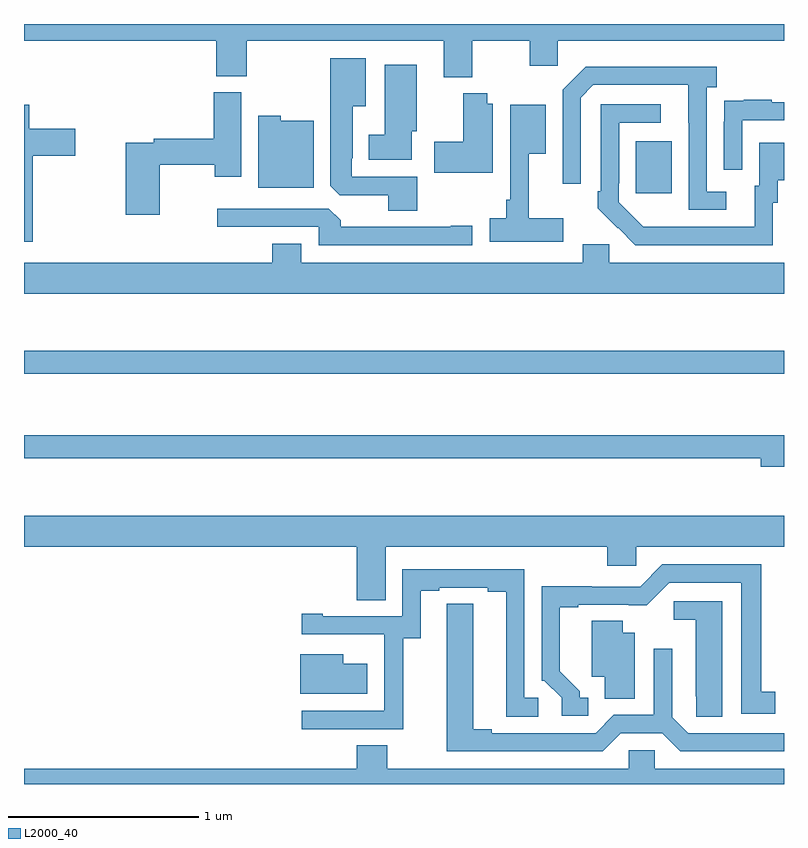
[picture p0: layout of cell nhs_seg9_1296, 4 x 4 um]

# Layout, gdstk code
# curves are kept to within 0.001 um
import gdstk
lib = gdstk.Library(unit=1e-6, precision=1e-09)
def R(c, l, rs):  # rectangles x0, y0, x1, y1
    for r in rs: c.add(gdstk.rectangle(r[:2], r[2:], *l))
def P(c, l, *ps):  # polygons
    for p in ps: c.add(gdstk.Polygon(p, *l))
L2000_40 = (2000, 40)

nhs_seg9_1296 = lib.new_cell('nhs_seg9_1296')
R(nhs_seg9_1296, L2000_40, [(183,1202.658,187,1202.779), (186.221,1203.609,186.409,1203.883)])
P(nhs_seg9_1296, L2000_40, [(187,1204.5),(183,1204.5),(183,1204.412),(184.013,1204.412),(184.013,1204.225),(184.173,1204.225),(184.173,1204.412),(185.21,1204.412),(185.21,1204.22),(185.358,1204.22),(185.358,1204.412),(185.662,1204.412),(185.662,1204.281),(185.808,1204.281),(185.808,1204.412),(187,1204.412)],
  [(185.069,1203.696),(184.725,1203.696),(184.725,1203.793),(184.729,1203.793),(184.729,1204.067),(184.798,1204.067),(184.798,1204.321),(184.613,1204.321),(184.613,1203.649),(184.662,1203.6),(184.916,1203.6),(184.916,1203.517),(185.069,1203.517)],
  [(185.041,1203.936),(185.068,1203.936),(185.068,1204.285),(184.898,1204.285),(184.898,1203.916),(184.814,1203.916),(184.814,1203.785),(185.041,1203.785)],
  [(186.697,1203.618),(186.594,1203.618),(186.594,1204.166),(186.646,1204.166),(186.646,1204.276),(185.956,1204.276),(185.835,1204.155),(185.835,1203.66),(185.931,1203.66),(185.931,1204.113),(185.997,1204.179),(186.497,1204.179),(186.498,1203.522),(186.697,1203.522)],
  [(183.714,1203.76),(184.003,1203.76),(184.003,1203.696),(184.144,1203.696),(184.144,1204.14),(183.998,1204.14),(183.998,1203.896),(183.682,1203.896),(183.682,1203.876),(183.536,1203.876),(183.536,1203.495),(183.714,1203.495)],
  [(185.467,1204.081),(185.437,1204.081),(185.437,1204.135),(185.312,1204.135),(185.312,1203.879),(185.16,1203.879),(185.16,1203.716),(185.467,1203.716)],
  [(186.78,1203.993),(187,1203.993),(187,1204.089),(186.935,1204.089),(186.935,1204.102),(186.787,1204.102),(186.787,1204.095),(186.685,1204.095),(186.685,1203.986),(186.684,1203.986),(186.684,1203.732),(186.78,1203.732)],
  [(186.942,1203.558),(186.967,1203.558),(186.967,1203.677),(187,1203.677),(187,1203.874),(186.869,1203.874),(186.869,1203.648),(186.845,1203.648),(186.845,1203.432),(186.258,1203.433),(186.129,1203.561),(186.129,1203.661),(186.132,1203.661),(186.132,1203.981),(186.352,1203.981),(186.352,1204.077),(186.036,1204.077),(186.036,1203.619),(186.021,1203.619),(186.021,1203.531),(186.218,1203.336),(186.942,1203.336)],
  [(185.839,1203.478),(185.657,1203.478),(185.657,1203.818),(185.746,1203.818),(185.746,1204.075),(185.559,1204.075),(185.559,1203.574),(185.539,1203.574),(185.539,1203.478),(185.45,1203.478),(185.45,1203.353),(185.839,1203.353)],
  [(183.047,1203.806),(183.271,1203.806),(183.271,1203.948),(183.028,1203.948),(183.028,1204.075),(183,1204.075),(183,1203.354),(183.047,1203.354)],
  [(184.525,1203.991),(184.35,1203.991),(184.35,1204.018),(184.232,1204.018),(184.232,1203.638),(184.525,1203.638)],
  [(185.359,1203.437),(185.246,1203.437),(185.246,1203.432),(184.667,1203.432),(184.667,1203.466),(184.605,1203.528),(184.017,1203.528),(184.017,1203.432),(184.551,1203.432),(184.551,1203.336),(185.359,1203.336)],
  [(187,1203.244),(186.081,1203.244),(186.081,1203.342),(185.942,1203.342),(185.942,1203.244),(184.459,1203.244),(184.459,1203.343),(184.307,1203.343),(184.307,1203.244),(183,1203.244),(183,1203.08),(187,1203.08)],
  [(187,1202.335),(183,1202.335),(183,1202.214),(186.878,1202.214),(186.878,1202.171),(187,1202.171)],
  [(184.903,1201.748),(186.071,1201.748),(186.071,1201.65),(186.222,1201.65),(186.222,1201.748),(187,1201.748),(187,1201.912),(183,1201.912),(183,1201.748),(184.751,1201.748),(184.751,1201.468),(184.903,1201.468)],
  [(185.971,1200.954),(185.926,1200.954),(185.926,1200.989),(185.821,1201.094),(185.821,1201.431),(185.917,1201.431),(185.917,1201.443),(186.278,1201.442),(186.396,1201.56),(186.776,1201.56),(186.776,1200.87),(186.955,1200.87),(186.955,1200.986),(186.88,1200.986),(186.88,1201.656),(186.36,1201.656),(186.243,1201.539),(185.987,1201.539),(185.987,1201.541),(185.724,1201.541),(185.724,1201.044),(185.739,1201.044),(185.829,1200.954),(185.829,1200.858),(185.971,1200.858)],
  [(184.995,1201.267),(185.089,1201.267),(185.089,1201.518),(185.185,1201.518),(185.185,1201.533),(185.441,1201.533),(185.441,1201.513),(185.537,1201.513),(185.537,1200.853),(185.707,1200.853),(185.707,1200.954),(185.634,1200.954),(185.634,1201.629),(184.992,1201.629),(184.992,1201.383),(184.573,1201.383),(184.573,1201.396),(184.461,1201.396),(184.461,1201.287),(184.895,1201.287),(184.895,1201.286),(184.896,1201.286),(184.896,1200.885),(184.461,1200.885),(184.461,1200.789),(184.995,1200.789)],
  [(186.676,1201.461),(186.42,1201.461),(186.42,1201.364),(186.536,1201.364),(186.536,1200.961),(186.537,1200.961),(186.537,1200.853),(186.676,1200.853)],
  [(186.141,1200.768),(186.359,1200.768),(186.455,1200.672),(187,1200.672),(187,1200.768),(186.495,1200.768),(186.411,1200.852),(186.411,1201.213),(186.315,1201.213),(186.315,1200.864),(186.105,1200.864),(186.009,1200.768),(185.461,1200.768),(185.461,1200.788),(185.365,1200.788),(185.365,1201.448),(185.226,1201.448),(185.225,1200.672),(186.045,1200.672)],
  [(186.214,1201.297),(186.151,1201.297),(186.151,1201.358),(185.987,1201.358),(185.987,1201.064),(186.056,1201.064),(186.056,1200.949),(186.214,1200.949)],
  [(184.807,1201.132),(184.681,1201.132),(184.681,1201.183),(184.454,1201.183),(184.454,1200.974),(184.807,1200.974)],
  [(187,1200.58),(186.321,1200.58),(186.321,1200.678),(186.183,1200.678),(186.183,1200.58),(184.911,1200.58),(184.911,1200.704),(184.751,1200.704),(184.751,1200.58),(183,1200.58),(183,1200.5),(187,1200.5)])

lib.write_gds('nhs_seg9_1296.gds')
